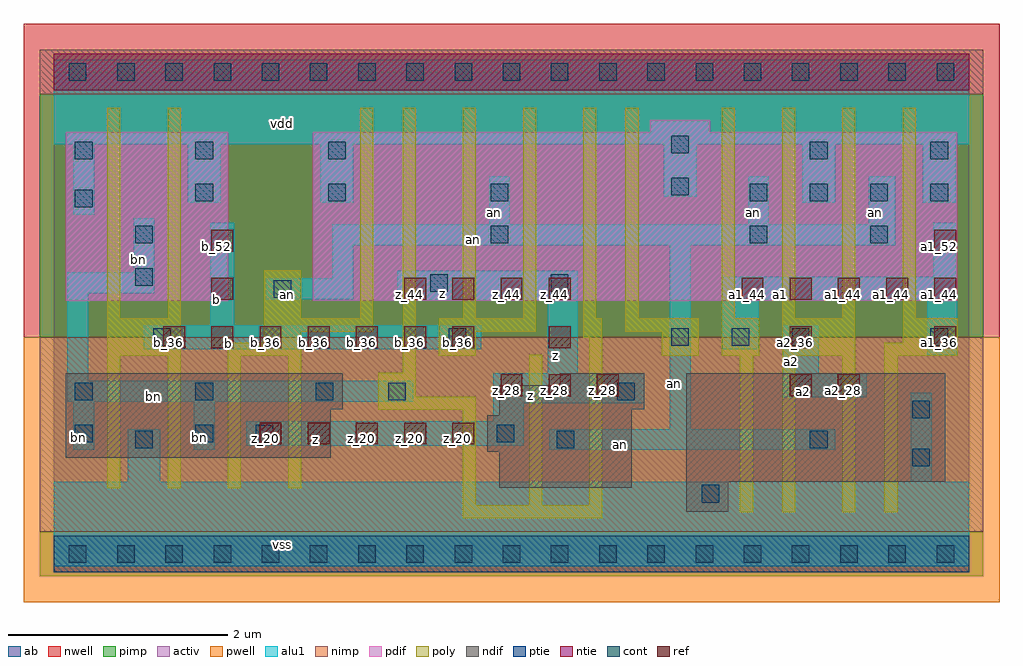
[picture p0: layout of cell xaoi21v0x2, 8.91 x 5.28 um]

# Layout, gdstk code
import gdstk
lib = gdstk.Library(unit=1e-6, precision=2.5e-09)
def R(c, l, rs):  # rectangles x0, y0, x1, y1
    for r in rs: c.add(gdstk.rectangle(r[:2], r[2:], *l))
def A(c, l, x, y, w, h, nx, ny, dx, dy):  # array of equal rectangles
    R(c, l, [(x+i*dx, y+j*dy, x+i*dx+w, y+j*dy+h) for i in range(nx) for j in range(ny)])
ndif = (3, 0)
pdif = (4, 0)
ntie = (5, 0)
ptie = (6, 0)
ref = (24, 0)
cont = (25, 0)
pwell = (41, 0)
nwell = (42, 0)
activ = (43, 0)
pimp = (44, 0)
nimp = (45, 0)
poly = (46, 0)
alu1 = (49, 0)
ab = (63, 0)

xaoi21v0x2 = lib.new_cell('xaoi21v0x2')
R(xaoi21v0x2, ndif, [(5.775,0.385,6.16,0.66), (4.07,0.605,5.28,0.935), (5.775,0.66,8.14,1.65), (0.11,0.88,2.53,1.32), (3.96,0.935,5.28,1.265), (4.07,1.265,5.28,1.32), (0.11,1.32,2.64,1.65), (4.07,1.32,5.39,1.54), (4.62,1.54,5.39,1.65)])
R(xaoi21v0x2, pdif, [(0.11,2.31,1.595,3.85), (2.365,2.31,8.25,3.85), (5.445,3.85,5.995,3.96)])
R(xaoi21v0x2, ntie, [(0,4.235,8.36,4.565)])
R(xaoi21v0x2, ptie, [(0,-0.165,8.36,0.165)])
A(xaoi21v0x2, ref, 1.88, 1, 0.2, 0.2, 5, 1, 0.44, 0)
A(xaoi21v0x2, ref, 4.08, 1.44, 0.2, 0.2, 3, 1, 0.44, 0)
A(xaoi21v0x2, ref, 1, 1.88, 0.2, 0.2, 7, 1, 0.44, 0)
A(xaoi21v0x2, ref, 3.2, 2.32, 0.2, 0.2, 4, 1, 0.44, 0)
A(xaoi21v0x2, ref, 6.28, 2.32, 0.2, 0.2, 5, 1, 0.44, 0)
R(xaoi21v0x2, ref, [(6.72,1.44,6.92,1.64), (7.16,1.44,7.36,1.64), (4.52,1.88,4.72,2.08), (6.72,1.88,6.92,2.08), (8.04,1.88,8.24,2.08), (1.44,2.32,1.64,2.52), (1.44,2.76,1.64,2.96), (8.04,2.76,8.24,2.96)])
A(xaoi21v0x2, cont, 0.14, -0.08, 0.16, 0.16, 19, 2, 0.44, 4.4)
A(xaoi21v0x2, cont, 0.195, 1.405, 0.16, 0.16, 3, 1, 1.1, 0)
A(xaoi21v0x2, cont, 5.64, 1.9, 0.16, 0.16, 3, 1, 0.55, 0)
A(xaoi21v0x2, cont, 6.355, 3.22, 0.16, 0.16, 4, 1, 0.55, 0)
R(xaoi21v0x2, cont, [(5.915,0.47,6.075,0.63), (7.84,0.8,8,0.96), (0.745,0.965,0.905,1.125), (4.595,0.965,4.755,1.125), (6.905,0.965,7.065,1.125), (0.195,1.02,0.355,1.18), (1.295,1.02,1.455,1.18), (1.845,1.02,2.005,1.18), (4.045,1.02,4.205,1.18), (7.84,1.24,8,1.4), (3.055,1.405,3.215,1.565), (5.145,1.405,5.305,1.565), (0.91,1.9,1.07,2.06), (3.605,1.9,3.765,2.06), (8.005,1.9,8.165,2.06), (2.01,2.34,2.17,2.5), (3.44,2.395,3.6,2.555), (4.54,2.395,4.7,2.555), (0.745,2.45,0.905,2.61), (0.745,2.835,0.905,2.995), (3.99,2.835,4.15,2.995), (6.355,2.835,6.515,2.995), (7.455,2.835,7.615,2.995), (0.195,3.165,0.355,3.325), (1.295,3.22,1.455,3.38), (2.505,3.22,2.665,3.38), (3.99,3.22,4.15,3.38), (5.64,3.275,5.8,3.435), (0.195,3.605,0.355,3.765), (1.295,3.605,1.455,3.765), (2.505,3.605,2.665,3.765), (6.905,3.605,7.065,3.765), (8.005,3.605,8.165,3.765), (5.64,3.66,5.8,3.82)])
R(xaoi21v0x2, pwell, [(-0.275,-0.44,8.635,1.98)])
R(xaoi21v0x2, nwell, [(-0.275,1.98,8.635,4.84)])
R(xaoi21v0x2, activ, [(0,-0.165,8.36,0.165), (5.775,0.385,6.16,0.66), (4.07,0.605,5.28,0.935), (5.775,0.66,8.14,1.65), (0.11,0.88,2.53,1.32), (3.96,0.935,5.28,1.265), (4.07,1.265,5.28,1.32), (0.11,1.32,2.64,1.65), (4.07,1.32,5.39,1.54), (4.62,1.54,5.39,1.65), (0.11,2.31,1.595,3.85), (2.365,2.31,8.25,3.85), (5.445,3.85,5.995,3.96), (0,4.235,8.36,4.565)])
R(xaoi21v0x2, pimp, [(-0.125,-0.205,8.485,0.205), (-0.125,1.98,8.485,4.195)])
R(xaoi21v0x2, nimp, [(-0.125,0.205,8.485,1.98), (-0.125,4.195,8.485,4.605)])
A(xaoi21v0x2, poly, 0.49, 0.6, 0.12, 1.21, 4, 1, 0.55, 0)
A(xaoi21v0x2, poly, 3.735, 2.15, 0.12, 1.925, 3, 1, 0.55, 0)
A(xaoi21v0x2, poly, 6.1, 2.15, 0.12, 1.925, 4, 1, 0.55, 0)
R(xaoi21v0x2, poly, [(3.735,0.325,5.01,0.445), (6.265,0.38,6.385,1.81), (6.65,0.38,6.77,1.81), (7.2,0.38,7.32,1.81), (7.585,0.38,7.705,1.81), (3.735,0.445,3.855,1.315), (4.34,0.445,4.46,1.82), (4.89,0.445,5.01,1.975), (2.965,1.315,3.855,1.435), (2.965,1.435,3.305,1.655), (3.185,1.655,3.305,4.075), (0.49,1.81,1.16,2.15), (1.59,1.81,2.26,1.93), (3.515,1.81,3.855,2.03), (5.55,1.81,5.89,2.03), (6.1,1.81,6.44,2.15), (6.65,1.81,7.32,2.15), (7.585,1.81,8.255,1.93), (1.92,1.93,2.26,2.03), (7.75,1.93,8.255,2.15), (4.835,1.975,5.01,2.15), (1.92,2.03,2.92,2.15), (3.515,2.03,4.405,2.15), (5.22,2.03,5.89,2.15), (0.49,2.15,0.61,4.075), (1.04,2.15,1.16,4.075), (1.92,2.15,2.26,2.59), (2.8,2.15,2.92,4.075), (5.22,2.15,5.34,4.075)])
R(xaoi21v0x2, alu1, [(0,-0.11,8.36,0.66), (0.675,0.66,0.975,1.14), (7.825,0.66,8.015,1.47), (0.18,0.95,0.37,1.39), (1.28,0.95,1.47,1.39), (4.525,0.95,7.135,1.14), (1.76,0.99,4.29,1.21), (5.625,1.14,5.815,2.82), (4.015,1.21,4.29,1.375), (4.015,1.375,5.39,1.65), (0.125,1.39,3.285,1.58), (6.655,1.43,7.425,1.65), (0.125,1.58,0.315,2.38), (4.51,1.65,4.785,2.31), (6.655,1.65,6.985,2.09), (7.975,1.815,8.25,2.31), (0.825,1.87,3.905,2.09), (6.105,1.87,6.435,2.31), (1.43,2.09,1.65,3.025), (3.135,2.31,4.785,2.585), (6.105,2.31,8.25,2.53), (1.94,2.325,2.735,2.515), (0.125,2.38,0.92,2.57), (2.545,2.515,2.735,2.82), (8.03,2.53,8.25,3.025), (0.73,2.57,0.92,3.065), (2.545,2.82,7.685,3.01), (3.975,3.01,4.165,3.45), (6.34,3.01,6.53,3.45), (7.44,3.01,7.685,3.45), (0.18,3.095,0.37,3.74), (1.225,3.205,1.525,3.74), (2.435,3.205,2.735,3.74), (6.835,3.205,7.135,3.74), (7.935,3.205,8.235,3.74), (5.57,3.26,5.87,3.74), (0,3.74,8.36,4.51)])
R(xaoi21v0x2, ab, [(0,0,8.36,4.4)])
xaoi21v0x2.add(gdstk.Label('vss', (2.09,0.0825), layer=49, texttype=0))
xaoi21v0x2.add(gdstk.Label('an', (5.1775,0.9975), layer=49, texttype=0))
xaoi21v0x2.add(gdstk.Label('a2', (6.8475,1.485), layer=49, texttype=0))
xaoi21v0x2.add(gdstk.Label('a2', (6.7375,1.76), layer=49, texttype=0))
xaoi21v0x2.add(gdstk.Label('a1', (6.64,2.365), layer=49, texttype=0))
xaoi21v0x2.add(gdstk.Label('an', (5.6725,1.56), layer=49, texttype=0))
xaoi21v0x2.add(gdstk.Label('z', (2.3925,1.045), layer=49, texttype=0))
xaoi21v0x2.add(gdstk.Label('z', (4.3575,1.4425), layer=49, texttype=0))
xaoi21v0x2.add(gdstk.Label('bn', (1.3275,1.06), layer=49, texttype=0))
xaoi21v0x2.add(gdstk.Label('bn', (0.2275,1.06), layer=49, texttype=0))
xaoi21v0x2.add(gdstk.Label('bn', (0.915,1.4375), layer=49, texttype=0))
xaoi21v0x2.add(gdstk.Label('z', (4.5775,1.815), layer=49, texttype=0))
xaoi21v0x2.add(gdstk.Label('b', (1.595,1.925), layer=49, texttype=0))
xaoi21v0x2.add(gdstk.Label('z', (3.5475,2.3775), layer=49, texttype=0))
xaoi21v0x2.add(gdstk.Label('an', (2.1375,2.3725), layer=49, texttype=0))
xaoi21v0x2.add(gdstk.Label('an', (3.83,2.8675), layer=49, texttype=0))
xaoi21v0x2.add(gdstk.Label('an', (7.5,3.12), layer=49, texttype=0))
xaoi21v0x2.add(gdstk.Label('an', (6.3875,3.12), layer=49, texttype=0))
xaoi21v0x2.add(gdstk.Label('an', (4.0225,3.12), layer=49, texttype=0))
xaoi21v0x2.add(gdstk.Label('b', (1.485,2.3225), layer=49, texttype=0))
xaoi21v0x2.add(gdstk.Label('bn', (0.7775,2.6925), layer=49, texttype=0))
xaoi21v0x2.add(gdstk.Label('vdd', (2.09,3.9325), layer=49, texttype=0))
xaoi21v0x2.add(gdstk.Label('a1_44', (6.33,2.37), layer=24, texttype=0))
xaoi21v0x2.add(gdstk.Label('a2_28', (6.77,1.49), layer=24, texttype=0))
xaoi21v0x2.add(gdstk.Label('a2_36', (6.77,1.93), layer=24, texttype=0))
xaoi21v0x2.add(gdstk.Label('a1_44', (6.77,2.37), layer=24, texttype=0))
xaoi21v0x2.add(gdstk.Label('a2_28', (7.21,1.49), layer=24, texttype=0))
xaoi21v0x2.add(gdstk.Label('a1_44', (7.21,2.37), layer=24, texttype=0))
xaoi21v0x2.add(gdstk.Label('a1_44', (7.65,2.37), layer=24, texttype=0))
xaoi21v0x2.add(gdstk.Label('a1_36', (8.09,1.93), layer=24, texttype=0))
xaoi21v0x2.add(gdstk.Label('a1_44', (8.09,2.37), layer=24, texttype=0))
xaoi21v0x2.add(gdstk.Label('a1_52', (8.09,2.81), layer=24, texttype=0))
xaoi21v0x2.add(gdstk.Label('b_36', (1.05,1.93), layer=24, texttype=0))
xaoi21v0x2.add(gdstk.Label('b_36', (1.49,1.93), layer=24, texttype=0))
xaoi21v0x2.add(gdstk.Label('b_44', (1.49,2.37), layer=24, texttype=0))
xaoi21v0x2.add(gdstk.Label('b_52', (1.49,2.81), layer=24, texttype=0))
xaoi21v0x2.add(gdstk.Label('z_20', (1.93,1.05), layer=24, texttype=0))
xaoi21v0x2.add(gdstk.Label('b_36', (1.93,1.93), layer=24, texttype=0))
xaoi21v0x2.add(gdstk.Label('z_20', (2.37,1.05), layer=24, texttype=0))
xaoi21v0x2.add(gdstk.Label('b_36', (2.37,1.93), layer=24, texttype=0))
xaoi21v0x2.add(gdstk.Label('z_20', (2.81,1.05), layer=24, texttype=0))
xaoi21v0x2.add(gdstk.Label('b_36', (2.81,1.93), layer=24, texttype=0))
xaoi21v0x2.add(gdstk.Label('z_20', (3.25,1.05), layer=24, texttype=0))
xaoi21v0x2.add(gdstk.Label('b_36', (3.25,1.93), layer=24, texttype=0))
xaoi21v0x2.add(gdstk.Label('z_44', (3.25,2.37), layer=24, texttype=0))
xaoi21v0x2.add(gdstk.Label('z_20', (3.69,1.05), layer=24, texttype=0))
xaoi21v0x2.add(gdstk.Label('b_36', (3.69,1.93), layer=24, texttype=0))
xaoi21v0x2.add(gdstk.Label('z_44', (3.69,2.37), layer=24, texttype=0))
xaoi21v0x2.add(gdstk.Label('z_28', (4.13,1.49), layer=24, texttype=0))
xaoi21v0x2.add(gdstk.Label('z_44', (4.13,2.37), layer=24, texttype=0))
xaoi21v0x2.add(gdstk.Label('z_28', (4.57,1.49), layer=24, texttype=0))
xaoi21v0x2.add(gdstk.Label('z_36', (4.57,1.93), layer=24, texttype=0))
xaoi21v0x2.add(gdstk.Label('z_44', (4.57,2.37), layer=24, texttype=0))
xaoi21v0x2.add(gdstk.Label('z_28', (5.01,1.49), layer=24, texttype=0))

lib.write_gds('xaoi21v0x2.gds')
